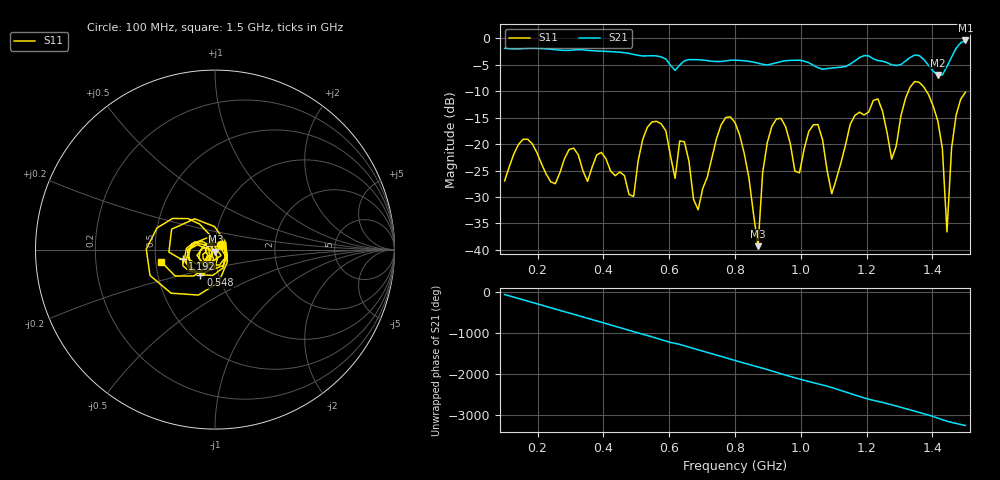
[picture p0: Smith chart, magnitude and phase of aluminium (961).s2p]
! NanoVNA-App
! Date: 2025-09-25 15:02:46
! Start: 100MHz Stop: 1,5GHz Points: 101
! S-Parameter data: F S11 S21 S12 S22
# Hz S RI R 50
!  Frequency  S11_Real  S11_Imag  S21_Real  S21_Imag  S12_Real  S12_Imag  S22_Real  S22_Imag
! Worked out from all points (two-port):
!   101 points, 100 MHz to 1.5 GHz, reference 50 ohm
!   highest |S21| = -0.43 dB at 1.5 GHz (marker M1); lowest = -7.0 dB at 1.416 GHz (marker M2)
!   |S21| within 3 dB of the highest: start of sweep to 567.6 MHz; 1.459 GHz to end of sweep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
!   lowest |S11| = -39.3 dB at 870 MHz (marker M3), VSWR 1.02, Z = 50.2 - j1.07 ohm
!   |S11| at or under -10 dB: start of sweep to 1.327 GHz; 1.382 GHz to end of sweep
!   S12 and S22 are empty: the file has one direction only
!   S11 on the Smith chart (normalised r, x): 100 MHz: 1.07, +0.06; 548 MHz: 0.82, -0.24; 1.192 GHz: 0.69, -0.07; 1.5 GHz: 0.53, -0.08
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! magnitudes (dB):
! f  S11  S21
! 100 MHz  -27.0  -1.9
! 156 MHz  -19.1  -2.0
! 338 MHz  -25.1  -2.2
! 492 MHz  -29.9  -3.1
! 548 MHz  -15.8  -3.3
! 576 MHz  -16.2  -3.5
! 646 MHz  -19.6  -4.3
! 688 MHz  -32.4  -4.1
! 800 MHz  -15.9  -4.1
! 870 MHz  -39.3  -4.7
! 912 MHz  -16.7  -4.9
! 996 MHz  -25.4  -4.2
! 1.038 GHz  -16.4  -5.1
! 1.094 GHz  -29.4  -5.6
! 1.192 GHz  -14.5  -3.3
! 1.234 GHz  -11.5  -4.2
! 1.276 GHz  -22.9  -5.0
! 1.346 GHz  -8.2  -3.2
! 1.416 GHz  -15.6  -7.0
! 1.444 GHz  -36.6  -5.4
! 1.458 GHz  -20.8  -3.6
! 1.5 GHz  -10.2  -0.4
